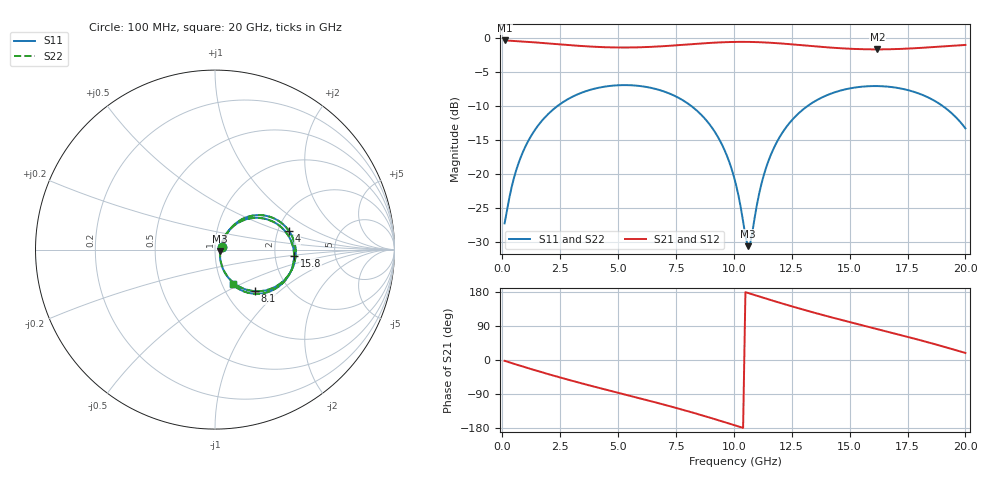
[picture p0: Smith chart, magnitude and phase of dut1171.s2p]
! Touchstone file exported from HFSS 2026.1.0
!  File:  C:/ffzhzh/LocalFiles/Ansys_Project_Files/temp_train_TSV_RDL_1171_1783314384_38704.aedt
!  Generated:  01:20:29 PM Jul  6, 2026
!  Design:  TSV_RDL
!  Project:  temp_train_TSV_RDL_1171_1783314384_38704
! Variables:
!  h_bsmrdl = 2.14um
!  h_ox = 20um
!  h_rdl = 5um
!  h_sub = 66.19um
!  h_tmrdl = 2.7um
!  h_tsv = 66.19um
!  h_via = 3um
!  l_bsmrdl = 749.16um
!  l_sub = 5972.57um
!  l_tmrdl = 799.9um
!  m_sub = 200um
!  pitch = 36.97um
!  r_tsv = 5.52um
!  s_tmrdl = 10um
!  w_bsmrdl = 17.61um
!  w_sub = 500um
!  w_tmrdl = 24.22um
!  x_tsv_center1 = 812.01um
!  x_tsv_center2 = 1578.78um
!  x_tsv_center3 = 2402.9um
!  x_tsv_center4 = 3169.67um
!  x_tsv_center5 = 3993.79um
!  x_tsv_center6 = 4760.56um
# GHz S MA R 50.000000
! Terminal data exported
! Port[1] = TM_RDL1_1_T1
! Port[2] = TM_RDL5_1_T1
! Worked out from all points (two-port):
!   200 points, 100 MHz to 20 GHz, reference 50 ohm
!   highest |S21| = -0.35 dB at 100 MHz (marker M1); lowest = -1.7 dB at 16.2 GHz (marker M2)
!   |S21| within 3 dB of the highest: start of sweep to end of sweep
!   lowest |S11| = -30.6 dB at 10.6 GHz (marker M3), VSWR 1.06, Z = 52.9 - j0.863 ohm
!   |S11| at or under -10 dB: start of sweep to 2.384 GHz; 8.161 GHz to 13.18 GHz (5.024 GHz wide, 47.1 % of centre); 19.02 GHz to end of sweep
!   |S22| runs from -30.3 to -6.9 dB; largest |S21 - S12| = 1.7e-14
!   S11 on the Smith chart (normalised r, x): 100 MHz: 1.08, +0.04; 4 GHz: 2.30, +0.59; 8.1 GHz: 1.36, -0.71; 15.8 GHz: 2.56, -0.22; 20 GHz: 1.12, -0.45
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0.1  0.04327 22.0  0.9603 -2.1  0.9603 -2.1  0.04327 22.0
! Gamma 0 0 0 0
! Port Impedance 50 0 50 0
0.6  0.1064 52.6  0.9495 -11.9  0.9495 -11.9  0.1064 52.6
1.2  0.1848 51.7  0.935 -23.1  0.935 -23.1  0.1848 51.7
2.2  0.2985 40.0  0.907 -41.0  0.907 -41.0  0.2985 40.0
3.5  0.4004 21.4  0.8722 -62.8  0.8722 -62.8  0.4004 21.5
4  0.4248 14.2  0.8625 -70.8  0.8625 -70.8  0.4248 14.3
5.4  0.4504 -5.9  0.8523 -92.7  0.8523 -92.7  0.4504 -5.8
6.8  0.414 -26.4  0.8684 -114.8  0.8684 -114.8  0.414 -26.3
8.1  0.322 -46.1  0.8997 -136.7  0.8997 -136.7  0.3221 -45.9
9.3  0.1886 -63.2  0.9278 -158.3  0.9278 -158.3  0.1888 -62.9
10.1  0.08243 -66.1  0.9372 -173.4  0.9372 -173.4  0.08278 -65.4
10.6  0.02939 -16.1  0.9372 177.0  0.9372 177.0  0.03042 -15.7
10.7  0.03034 10.0  0.9366 175.1  0.9366 175.1  0.03136 9.5
11.2  0.08558 53.5  0.9309 165.6  0.9309 165.6  0.08597 52.8
11.7  0.1515 53.2  0.9211 156.2  0.9211 156.2  0.1517 52.8
12.4  0.2367 44.9  0.9024 143.5  0.9024 143.5  0.2369 44.7
13.4  0.3347 30.3  0.8721 126.1  0.8721 126.1  0.3348 30.2
15.8  0.4421 -4.5  0.8265 87.7  0.8265 87.7  0.4422 -4.5
16.2  0.4432 -10.1  0.8255 81.5  0.8255 81.5  0.4433 -10.2
16.7  0.4381 -17.2  0.8273 73.8  0.8273 73.8  0.4382 -17.2
18.4  0.365 -41.6  0.8538 46.5  0.8538 46.5  0.3651 -41.6
20  0.2165 -63.0  0.8901 18.5  0.8901 18.5  0.2166 -63.1
